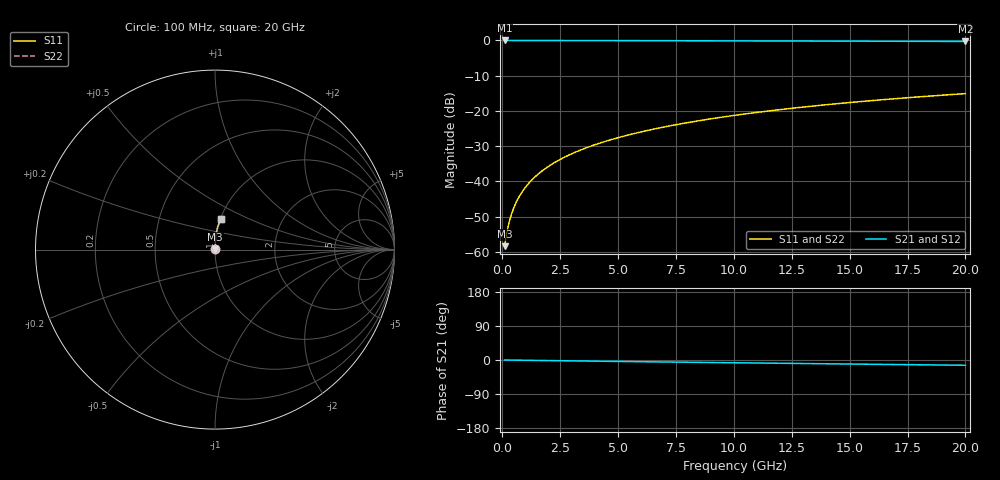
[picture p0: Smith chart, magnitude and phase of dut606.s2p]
! Touchstone file exported from HFSS 2024.1.0
!  File:  C:/UserFiles/LocalFiles/RDL_TSV_Batchsim/temp_RDL_bottom_606_1779783381.aedt
!  Generated:  04:19:05 PM May 26, 2026
!  Design:  RDL_bottom
!  Project:  temp_RDL_bottom_606_1779783381
!  Setup:  Setup1
!  Solution:  Sweep
! Variables:
!  dtsv = 10.80580581um
!  hbump = 3um
!  htsv = 57.24um
!  ldown = 144.13um
!  lrdl = 100um
!  p = 40
!  p1 = 55.49um
!  rhole = 1um
!  t = 450um
!  tdown = 4.02um
!  trdl = 3.915915916um
!  wdown = 18.95um
!  wrdl = 20um
# GHz S MA R 50.000000
! Terminal data exported
! Port[1] = RDL1_T1
! Port[2] = RDL1_T2
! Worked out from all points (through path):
!   200 points, 100 MHz to 20 GHz, reference 50 ohm
!   highest |S21| = -0.01 dB at 100 MHz (marker M1); lowest = -0.3 dB at 20 GHz (marker M2)
!   group delay of S21, straight-line fit = 1.92 ps
!   lowest |S11| = -58.4 dB at 100 MHz (marker M3), VSWR 1.00, Z = 50.1 + j0.086 ohm
!   |S11| at or under -10 dB: start of sweep to end of sweep
!   |S22| runs from -58.4 to -15.1 dB; largest |S21 - S12| = 5.5e-15
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0.1  0.001207 45.4  0.9991 -0.1  0.9991 -0.1  0.001207 45.4
! Gamma 0 0 0 0
! Port Impedance 50 0 50 0
0.2  0.001914 62.8  0.9991 -0.2  0.9991 -0.2  0.001914 62.8
0.3  0.002685 70.3  0.9991 -0.2  0.9991 -0.2  0.002685 70.3
0.4  0.00347 74.4  0.999 -0.3  0.999 -0.3  0.00347 74.4
0.5  0.00426 77.1  0.999 -0.4  0.999 -0.4  0.00426 77.1
0.7  0.005851 80.4  0.9989 -0.6  0.9989 -0.6  0.005851 80.4
0.8  0.006651 81.5  0.9989 -0.6  0.9989 -0.6  0.006651 81.5
1  0.00826 83.2  0.9988 -0.8  0.9988 -0.8  0.00826 83.2
1.2  0.009877 84.3  0.9987 -0.9  0.9987 -0.9  0.009877 84.3
1.4  0.0115 85.1  0.9986 -1.1  0.9986 -1.1  0.0115 85.1
1.7  0.01395 85.9  0.9984 -1.3  0.9984 -1.3  0.01395 85.9
2  0.01641 86.5  0.9981 -1.6  0.9981 -1.6  0.01641 86.5
2.7  0.0222 87.4  0.9975 -2.1  0.9975 -2.1  0.0222 87.4
3.5  0.0289 87.9  0.9965 -2.7  0.9965 -2.7  0.0289 87.9
4.2  0.03484 88.1  0.9956 -3.2  0.9956 -3.2  0.03484 88.1
5  0.04173 88.1  0.9944 -3.8  0.9944 -3.8  0.04173 88.1
6.8  0.05752 87.7  0.9915 -5.1  0.9915 -5.1  0.05752 87.7
8.3  0.07094 87.0  0.989 -6.2  0.989 -6.2  0.07094 87.0
10.1  0.08721 86.0  0.9859 -7.4  0.9859 -7.4  0.08721 86.0
13.4  0.1171 83.8  0.9802 -9.6  0.9802 -9.6  0.1171 83.8
16.7  0.1468 81.4  0.9742 -11.8  0.9742 -11.8  0.1468 81.4
20  0.176 79.0  0.9679 -13.9  0.9679 -13.9  0.176 79.0
